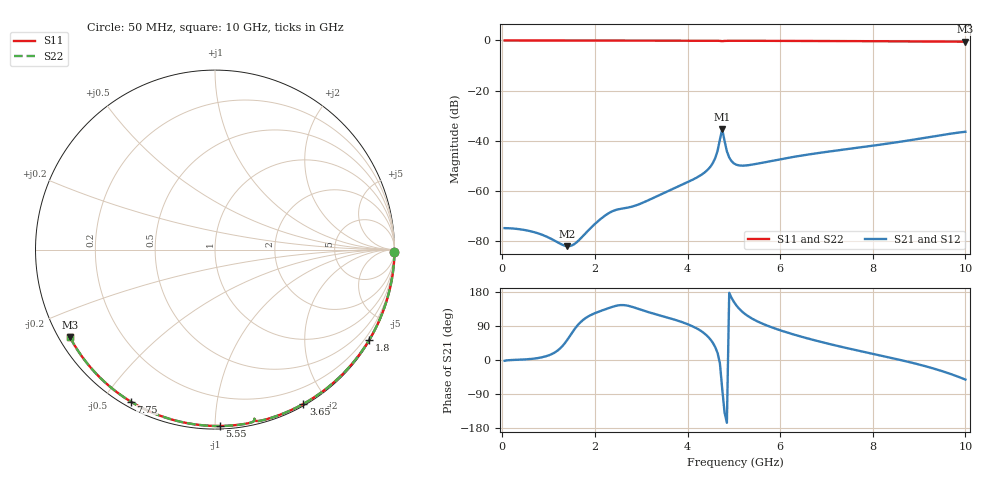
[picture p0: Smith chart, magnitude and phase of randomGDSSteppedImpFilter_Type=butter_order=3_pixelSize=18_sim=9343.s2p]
! freq	dB(S11)	phase(S11)	dB(S12)	phase(S12)
!  dB(S21)	phase(S21)	dB(S22)	phase(S22)
!S-par simulation data
#  GHz  S  DB  R 50
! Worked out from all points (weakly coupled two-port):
!   200 points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, 50 MHz to 10 GHz, reference 50 ohm
!   highest |S21| = -35.46 dB at 4.75 GHz (marker M1); lowest = -82.1 dB at 1.4 GHz (marker M2)
!   lowest |S11| = -0.5 dB at 10 GHz (marker M3), VSWR 34.81, Z = 1.55 - j13.9 ohm
!   |S11| at or under -10 dB: nowhere
!   |S22| runs from -0.5 to 0.0 dB; largest |S21 - S12| = 0
!   S11 on the Smith chart (normalised r, x): 50 MHz: open; 1.8 GHz: 0.03, -3.67; 3.65 GHz: 0.02, -1.72; 5.55 GHz: 0.02, -1.03; 7.75 GHz: 0.02, -0.59; 10 GHz: 0.03, -0.28
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0.05  -0.00 -0.9  -74.91 -2.0  -74.91 -2.0  -0.00 -0.9
0.65  -0.01 -11.1  -76.34 3.2  -76.34 3.2  -0.01 -11.1
1.15  -0.02 -19.6  -80.11 21.2  -80.11 21.2  -0.02 -19.6
1.4  -0.03 -23.8  -82.12 52.6  -82.12 52.6  -0.03 -23.8
1.65  -0.04 -28.0  -79.83 94.9  -79.83 94.9  -0.04 -28.0
1.75  -0.04 -29.6  -77.91 106.2  -77.91 106.2  -0.04 -29.6
1.8  -0.04 -30.5  -76.94 110.7  -76.94 110.7  -0.04 -30.5
2.35  -0.05 -39.5  -68.43 139.2  -68.43 139.2  -0.05 -39.5
3.4  -0.07 -56.3  -61.66 117.7  -61.66 117.7  -0.07 -56.3
3.65  -0.08 -60.2  -59.55 109.0  -59.55 109.0  -0.08 -60.2
4.45  -0.11 -72.6  -51.33 60.4  -51.33 60.4  -0.11 -72.5
4.6  -0.12 -74.9  -46.86 33.5  -46.86 33.5  -0.12 -74.9
4.65  -0.13 -75.8  -43.97 17.9  -43.97 17.9  -0.13 -75.8
4.75  -0.29 -76.9  -35.46 -77.5  -35.46 -77.5  -0.29 -76.9
4.85  -0.14 -78.0  -44.27 -165.7  -44.27 -165.7  -0.14 -78.0
4.9  -0.13 -78.9  -46.72 177.3  -46.72 177.3  -0.13 -78.8
5.05  -0.13 -81.2  -49.57 144.8  -49.57 144.8  -0.13 -81.2
5.55  -0.15 -88.5  -49.04 99.5  -49.04 99.5  -0.15 -88.5
6.7  -0.21 -104.7  -45.27 53.5  -45.27 53.5  -0.21 -104.7
7.75  -0.28 -119.0  -42.63 22.9  -42.63 22.9  -0.28 -119.0
8.35  -0.33 -127.1  -41.10 6.9  -41.10 6.9  -0.33 -127.0
10  -0.50 -149.0  -36.45 -51.6  -36.45 -51.6  -0.50 -149.0
